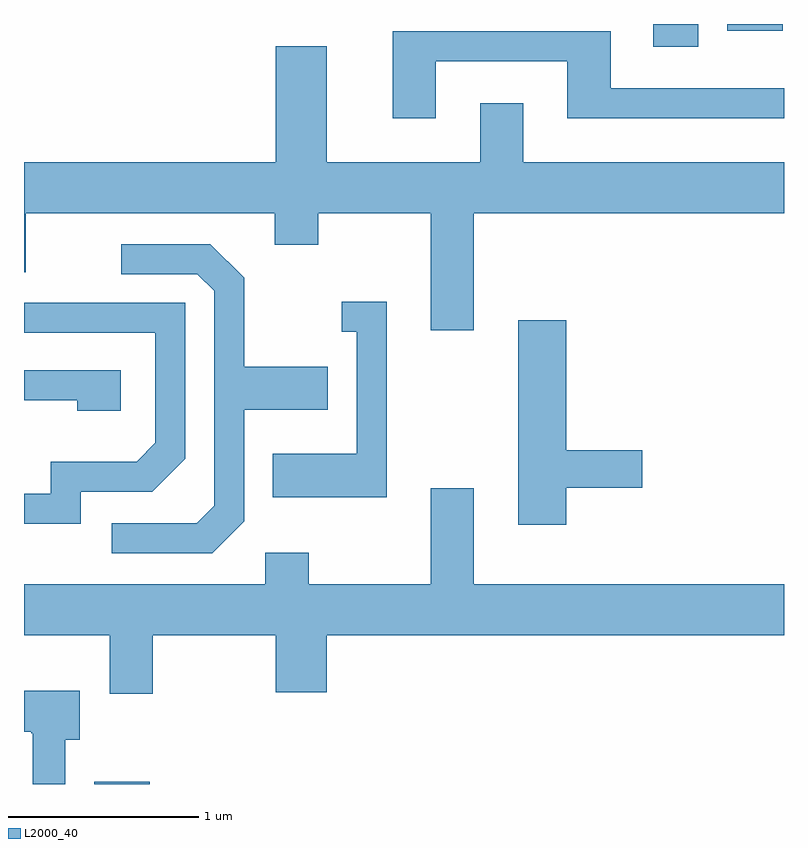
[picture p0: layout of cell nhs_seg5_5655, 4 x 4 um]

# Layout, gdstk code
import gdstk
lib = gdstk.Library(unit=1e-6, precision=1e-09)
def R(c, l, rs):  # rectangles x0, y0, x1, y1
    for r in rs: c.add(gdstk.rectangle(r[:2], r[2:], *l))
def P(c, l, *ps):  # polygons
    for p in ps: c.add(gdstk.Polygon(p, *l))
L2000_40 = (2000, 40)

nhs_seg5_5655 = lib.new_cell('nhs_seg5_5655')
R(nhs_seg5_5655, L2000_40, [(353.981,1396.072,354.274,1396.084), (356.923,1399.951,357.159,1400.072), (357.311,1400.036,357.604,1400.072)])
P(nhs_seg5_5655, L2000_40, [(355.779,1399.876),(356.471,1399.876),(356.471,1399.576),(357.611,1399.576),(357.611,1399.734),(356.699,1399.734),(356.699,1400.034),(355.551,1400.034),(355.551,1399.576),(355.779,1399.576)],
  [(355.979,1399.076),(357.611,1399.076),(357.611,1399.344),(356.239,1399.344),(356.239,1399.654),(356.011,1399.654),(356.011,1399.344),(355.204,1399.344),(355.204,1399.954),(354.936,1399.954),(354.936,1399.344),(353.611,1399.344),(353.611,1398.766),(353.619,1398.766),(353.619,1399.076),(354.931,1399.076),(354.931,1398.911),(355.159,1398.911),(355.159,1399.076),(355.751,1399.076),(355.751,1398.461),(355.979,1398.461)],
  [(354.769,1397.454),(354.769,1398.041),(355.209,1398.041),(355.209,1398.269),(354.769,1398.269),(354.769,1398.737),(354.592,1398.914),(354.123,1398.914),(354.123,1398.756),(354.524,1398.756),(354.611,1398.669),(354.611,1397.537),(354.519,1397.444),(354.073,1397.444),(354.073,1397.286),(354.602,1397.286)],
  [(355.519,1398.609),(355.283,1398.609),(355.283,1398.451),(355.361,1398.451),(355.361,1397.809),(354.921,1397.809),(354.921,1397.581),(355.519,1397.581)],
  [(353.909,1397.611),(354.287,1397.611),(354.459,1397.784),(354.459,1398.604),(353.611,1398.604),(353.611,1398.446),(354.301,1398.446),(354.301,1397.867),(354.204,1397.769),(353.751,1397.769),(353.751,1397.599),(353.611,1397.599),(353.611,1397.441),(353.909,1397.441)],
  [(356.464,1397.631),(356.864,1397.631),(356.864,1397.829),(356.464,1397.829),(356.464,1398.514),(356.211,1398.514),(356.211,1397.436),(356.464,1397.436)],
  [(354.119,1398.249),(353.611,1398.249),(353.611,1398.091),(353.891,1398.091),(353.891,1398.036),(354.119,1398.036)],
  [(354.289,1396.856),(354.936,1396.856),(354.936,1396.556),(355.204,1396.556),(355.204,1396.856),(357.611,1396.856),(357.611,1397.124),(355.979,1397.124),(355.979,1397.629),(355.751,1397.629),(355.751,1397.124),(355.109,1397.124),(355.109,1397.289),(354.881,1397.289),(354.881,1397.124),(353.611,1397.124),(353.611,1396.856),(354.061,1396.856),(354.061,1396.546),(354.289,1396.546)],
  [(353.829,1396.306),(353.904,1396.306),(353.904,1396.564),(353.611,1396.564),(353.611,1396.346),(353.65,1396.346),(353.65,1396.34),(353.656,1396.34),(353.656,1396.072),(353.829,1396.072)])

lib.write_gds('nhs_seg5_5655.gds')
